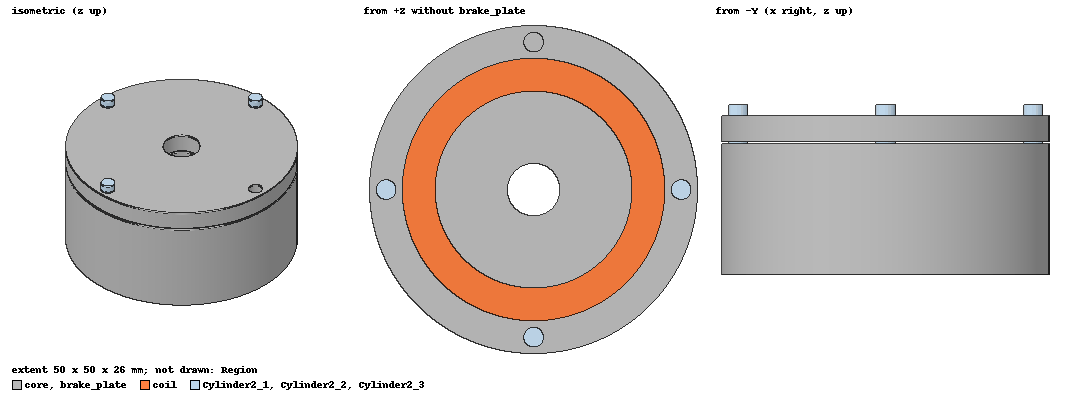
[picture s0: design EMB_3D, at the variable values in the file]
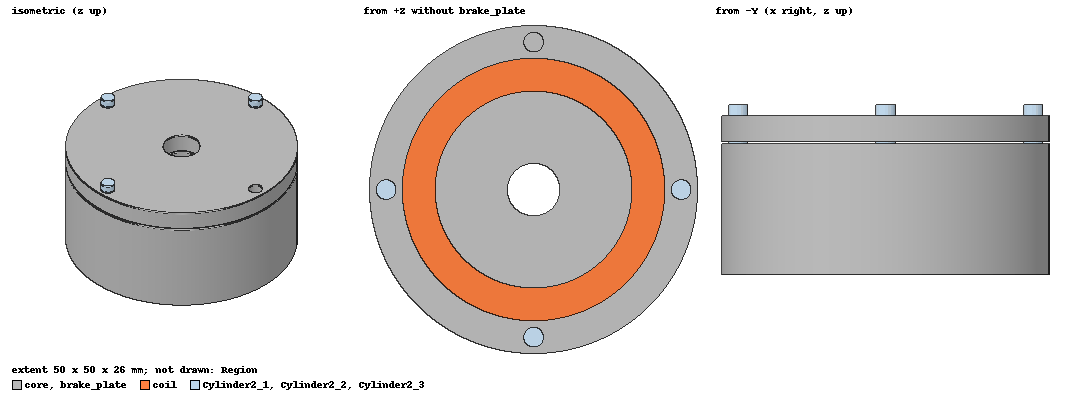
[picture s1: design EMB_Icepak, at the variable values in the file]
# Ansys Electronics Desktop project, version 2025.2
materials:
  vacuum: permittivity=1
  steel_1008: permeability{HUnit=A_per_meter BUnit=tesla curve (0, 0) (159.2, 0.2402) (318.3, 0.8654) (477.5, 1.1106) (636.6, 1.2458) (795.8, 1.331) (1591.5, 1.5) (3183.1, 1.6) (4774.6, 1.683) (6366.2, 1.741) (7957.7, 1.78) (15915.5, 1.905) (31831, 2.025) (47746.5, 2.085) (63662, 2.13) (79577.5, 2.165) (159155, 2.28) (318310, 2.485) (397887, 2.5851)} conductivity=2000000 thermal_conductivity=45 mass_density=7872 specific_heat=481 youngs_modulus=200000000000 poissons_ratio=0.25 thermal_expansion_coefficient=1.26e-05
  copper: permeability=0.999991 conductivity=58000000 thermal_conductivity=400 mass_density=8933 specific_heat=385 youngs_modulus=120000000000 poissons_ratio=0.38 thermal_expansion_coefficient=1.77e-05
  Al-Extruded: thermal_conductivity=205 mass_density=2800 specific_heat=900 youngs_modulus=69000000000 poissons_ratio=0.33 thermal_expansion_coefficient=2.277e-06 thermal_material_type=Solid
  air: permittivity=1.0006 permeability=1.0000004 thermal_conductivity=0.0261 mass_density=1.1614 specific_heat=1005 thermal_expansion_coefficient=0.00333 thermal_material_type=Fluid diffusivity=2.88e-05 molecular_mass=0.028966 viscosity=1.84e-05 material_refractive_index=1.000293
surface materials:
  Steel-oxidised-surface: surface_emissivity=0.8

design EMB_3D (Maxwell 3D, AC Magnetic, model units mm)
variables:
  gap = 0.3mm
  Amp = 5A
  Turns = 200
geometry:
  core [steel_1008] = cylinder(axis=Z, base_centre=(0mm, 0mm, 0mm), radius=25mm, height=20mm)
  coil [copper] = circle(normal=Z, centre=(0mm, 0mm, 20mm), radius=20mm)
  Circle2 = circle(normal=Z, centre=(0mm, 0mm, 20mm), radius=15mm)
  coil.subtract(Circle2)
  coil.thicken(-15mm)
  Circle1_1 = coil.copy()
  core.subtract(Circle1_1)
  Cylinder1 = cylinder(axis=Z, base_centre=(0mm, 0mm, 0mm), radius=4mm, height=20mm)
  core.subtract(Cylinder1)
  brake_plate [steel_1008] = object_from(core.face(-z end))
  brake_plate.thicken(4mm)
  brake_plate.move(0mm, 0mm, 24mm+gap)
  Cylinder2 = cylinder(axis=Z, base_centre=(0mm, 22.5mm, 26mm), radius=1.5mm, height=-15mm)
  Cylinder2_1, Cylinder2_2, Cylinder2_3 [vacuum] = Cylinder2.duplicate_around_axis(axis=Z, angle=90deg, total=4)
  Cylinder2.duplicate_around_axis(axis=Z, angle=90deg, total=4, attached)
  Cylinder2_4 = Cylinder2.copy()
  brake_plate.subtract(Cylinder2_4)
  core.subtract(Cylinder2)
  coil_Section1 [copper] = coil.section(plane=ZX)
  coil_Section1.separate_bodies()
  Region [vacuum] = region(percentage_offset=100 on all sides)
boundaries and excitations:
  Insulating1: Insulating Objects=coil
  Current1: Current Objects=coil_Section1 Phase=0deg Current=Amp*Turns IsSolid=false Point_out_of_terminal=false
  eddy effects on: core, brake_plate
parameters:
  Force1: Force Reference_CS=Global Is_Virtual=true Objects=brake_plate
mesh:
  initial mesh: GlobalSurfApproximation{CurvedSurfaceApproxChoice=UseSlider SliderMeshSettings=2} GlobalCurvilinear{Apply}
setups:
  Setup1: AC Magnetic MaximumPasses=3 MinimumPasses=2 MinimumConvergedPasses=1 PercentRefinement=30 PercentError=2 NonLinearResidual=0.0001 Frequency=300Hz LossAdaptiveCtrl=0.5
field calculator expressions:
  Loss_Plate = Ohmic-Loss | EnterVolume(brake_plate) | VolumeValue | Integrate
  Loss_Core = Ohmic-Loss | EnterVolume(core) | VolumeValue | Integrate
  Loss_Coil = Ohmic-Loss | EnterVolume(coil) | VolumeValue | Integrate
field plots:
  Ohmic_Loss1: Ohmic-Loss in brake_plate on Setup1 : LastAdaptive at Freq=300Hz Phase=0deg

design EMB_Icepak (Icepak, SteadyState TemperatureAndFlow, model units mm)
options: Default_Fluid_Material=air Default_Solid_Material=Al-Extruded Default_Surface_Material=Steel-oxidised-surface AmbientTemperature=20cel AmbientPressure=0n_per_meter_sq AmbientRadiationTemperature=20cel Gravity_Vector_CS_ID=Global Gravity_Vector_Axis=Z Positive=false SherlockExportDirectory="D:/Downloads D Drive/ANSYS Files_Ishak/Project 3_EMB_Maxwell and Icepak/EMB_eddy current_coupled with icepak.aedtexport/EMB_Icepak/" Altitude=0meter OperatingPressure=101325n_per_meter_sq OperatingDensity=1.225kg_per_m3
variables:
  gap = 0.3mm
  Amp = 5A
  Turns = 200
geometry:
  Region [air] = region(percentage_offset: +X=100, -X=100, +Y=100, -Y=100, +Z=300, -Z=100)
  core [steel_1008] = cylinder(axis=Z, base_centre=(0mm, 0mm, 0mm), radius=25mm, height=20mm)
  coil [copper] = circle(normal=Z, centre=(0mm, 0mm, 20mm), radius=20mm)
  Circle2 = circle(normal=Z, centre=(0mm, 0mm, 20mm), radius=15mm)
  coil.subtract(Circle2)
  coil.thicken(-15mm)
  Circle1_1 = coil.copy()
  core.subtract(Circle1_1)
  Cylinder1 = cylinder(axis=Z, base_centre=(0mm, 0mm, 0mm), radius=4mm, height=20mm)
  core.subtract(Cylinder1)
  brake_plate [steel_1008] = object_from(core.face(-z end))
  Cylinder2 = cylinder(axis=Z, base_centre=(0mm, 22.5mm, 26mm), radius=1.5mm, height=-15mm)
  Cylinder2_1, Cylinder2_2, Cylinder2_3 [vacuum] = Cylinder2.duplicate_around_axis(axis=Z, angle=90deg, total=4)
  Cylinder2.duplicate_around_axis(axis=Z, angle=90deg, total=4, attached)
  Cylinder2_4 = Cylinder2.copy()
  core.subtract(Cylinder2)
  coil_Section1 [copper] = coil.section(plane=ZX)
  brake_plate.thicken(4mm)
  brake_plate.move(0mm, 0mm, 24mm+gap)
  brake_plate.subtract(Cylinder2_4)
  coil_Section1.separate_bodies()
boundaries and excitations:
  Opening1: Opening Faces=Region.face(all 6) Temperature=AmbientTemp External_Rad._Temperature=AmbientRadTemp Inlet_Type=Pressure Total_Pressure=AmbientPressure
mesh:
  Global:  MeshMethod=MesherHD ComputeGap MeshRegionResolution=3 MinGapX=1mm MinGapY=1mm MinGapZ=1mm Objects=Region FacetLevel=3 ProximitySizeFunction CurvatureSizeFunction OptimizePCBMesh
